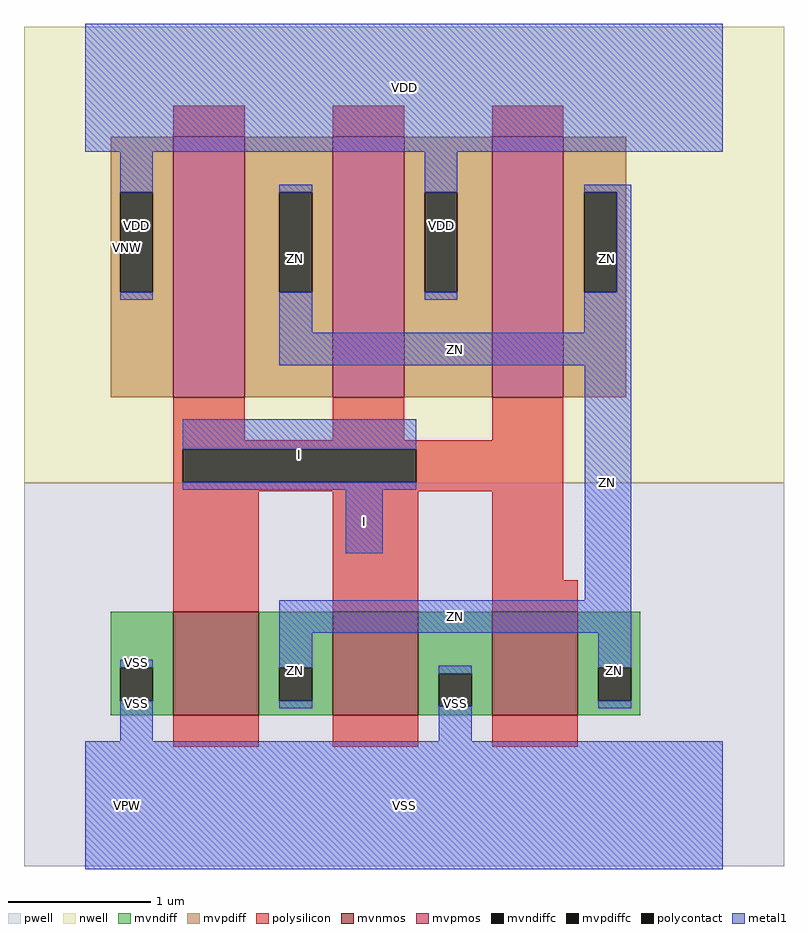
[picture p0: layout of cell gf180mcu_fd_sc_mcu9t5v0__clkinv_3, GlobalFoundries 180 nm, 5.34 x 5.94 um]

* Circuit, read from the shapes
.subckt gf180mcu_fd_sc_mcu9t5v0__clkinv_3 I ZN VDD VNW VPW VSS
XM1 ZN I VSS VPW nfet_06v0 w=0.73u l=0.6u m=3
XM2 ZN I VDD VNW pfet_06v0 w=1.83u l=0.5u m=3
.ends

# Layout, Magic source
magic
tech gf180mcuD
magscale 1 10
<< nwell >>
rect -86 453 982 1094
<< pwell >>
rect -86 -86 982 453
<< mvnmos >>
rect 124 126 244 272
rect 348 126 468 272
rect 572 126 692 272
<< mvpmos >>
rect 124 573 224 939
rect 348 573 448 939
rect 572 573 672 939
<< mvndiff >>
rect 36 193 124 272
rect 36 147 49 193
rect 95 147 124 193
rect 36 126 124 147
rect 244 193 348 272
rect 244 147 273 193
rect 319 147 348 193
rect 244 126 348 147
rect 468 185 572 272
rect 468 139 497 185
rect 543 139 572 185
rect 468 126 572 139
rect 692 193 780 272
rect 692 147 721 193
rect 767 147 780 193
rect 692 126 780 147
<< mvpdiff >>
rect 36 861 124 939
rect 36 721 49 861
rect 95 721 124 861
rect 36 573 124 721
rect 224 861 348 939
rect 224 721 273 861
rect 319 721 348 861
rect 224 573 348 721
rect 448 861 572 939
rect 448 721 477 861
rect 523 721 572 861
rect 448 573 572 721
rect 672 861 760 939
rect 672 721 701 861
rect 747 721 760 861
rect 672 573 760 721
<< mvndiffc >>
rect 49 147 95 193
rect 273 147 319 193
rect 497 139 543 185
rect 721 147 767 193
<< mvpdiffc >>
rect 49 721 95 861
rect 273 721 319 861
rect 477 721 523 861
rect 701 721 747 861
<< polysilicon >>
rect 124 939 224 983
rect 348 939 448 983
rect 572 939 672 983
rect 124 513 224 573
rect 348 513 448 573
rect 572 513 672 573
rect 124 500 672 513
rect 124 454 137 500
rect 465 454 672 500
rect 124 441 672 454
rect 124 272 244 441
rect 348 272 468 441
rect 572 316 672 441
rect 572 272 692 316
rect 124 82 244 126
rect 348 82 468 126
rect 572 82 692 126
<< polycontact >>
rect 137 454 465 500
<< metal1 >>
rect 0 918 896 1098
rect 49 861 95 918
rect 49 710 95 721
rect 273 861 319 872
rect 273 664 319 721
rect 477 861 523 918
rect 477 710 523 721
rect 701 861 767 872
rect 747 721 767 861
rect 701 664 767 721
rect 273 618 767 664
rect 137 500 465 542
rect 137 443 465 454
rect 366 354 418 443
rect 702 288 767 618
rect 273 242 767 288
rect 49 193 95 204
rect 49 90 95 147
rect 273 193 319 242
rect 273 136 319 147
rect 497 185 543 196
rect 497 90 543 139
rect 721 193 767 242
rect 721 136 767 147
rect 0 -90 896 90
<< labels >>
flabel metal1 s 137 443 465 542 0 FreeSans 200 0 0 0 I
port 1 nsew default input
flabel metal1 s 0 918 896 1098 0 FreeSans 200 0 0 0 VDD
port 3 nsew power bidirectional abutment
flabel metal1 s 49 196 95 204 0 FreeSans 200 0 0 0 VSS
port 6 nsew ground bidirectional abutment
flabel metal1 s 701 664 767 872 0 FreeSans 200 0 0 0 ZN
port 2 nsew default output
flabel nwell s 10 734 110 834 0 FreeSans 400 0 0 0 VNW
port 4 nsew power bidirectional
flabel pwell s 10 -50 110 50 0 FreeSans 400 0 0 0 VPW
port 5 nsew ground bidirectional
rlabel metal1 s 366 354 418 443 1 I
port 1 nsew default input
rlabel metal1 s 273 664 319 872 1 ZN
port 2 nsew default output
rlabel metal1 s 273 618 767 664 1 ZN
port 2 nsew default output
rlabel metal1 s 702 288 767 618 1 ZN
port 2 nsew default output
rlabel metal1 s 273 242 767 288 1 ZN
port 2 nsew default output
rlabel metal1 s 721 136 767 242 1 ZN
port 2 nsew default output
rlabel metal1 s 273 136 319 242 1 ZN
port 2 nsew default output
rlabel metal1 s 477 710 523 918 1 VDD
port 3 nsew power bidirectional abutment
rlabel metal1 s 49 710 95 918 1 VDD
port 3 nsew power bidirectional abutment
rlabel metal1 s 497 90 543 196 1 VSS
port 6 nsew ground bidirectional abutment
rlabel metal1 s 49 90 95 196 1 VSS
port 6 nsew ground bidirectional abutment
rlabel metal1 s 0 -90 896 90 1 VSS
port 6 nsew ground bidirectional abutment
<< properties >>
string FIXED_BBOX 0 0 896 1008
string GDS_END 1449310
string GDS_FILE $PDKPATH/libs.ref/gf180mcu_fd_sc_mcu9t5v0/gds/gf180mcu_fd_sc_mcu9t5v0.gds
string GDS_START 1446280
string LEFclass core
string LEFsite GF018hv5v_green_sc9
string LEFsymmetry X Y
<< end >>
